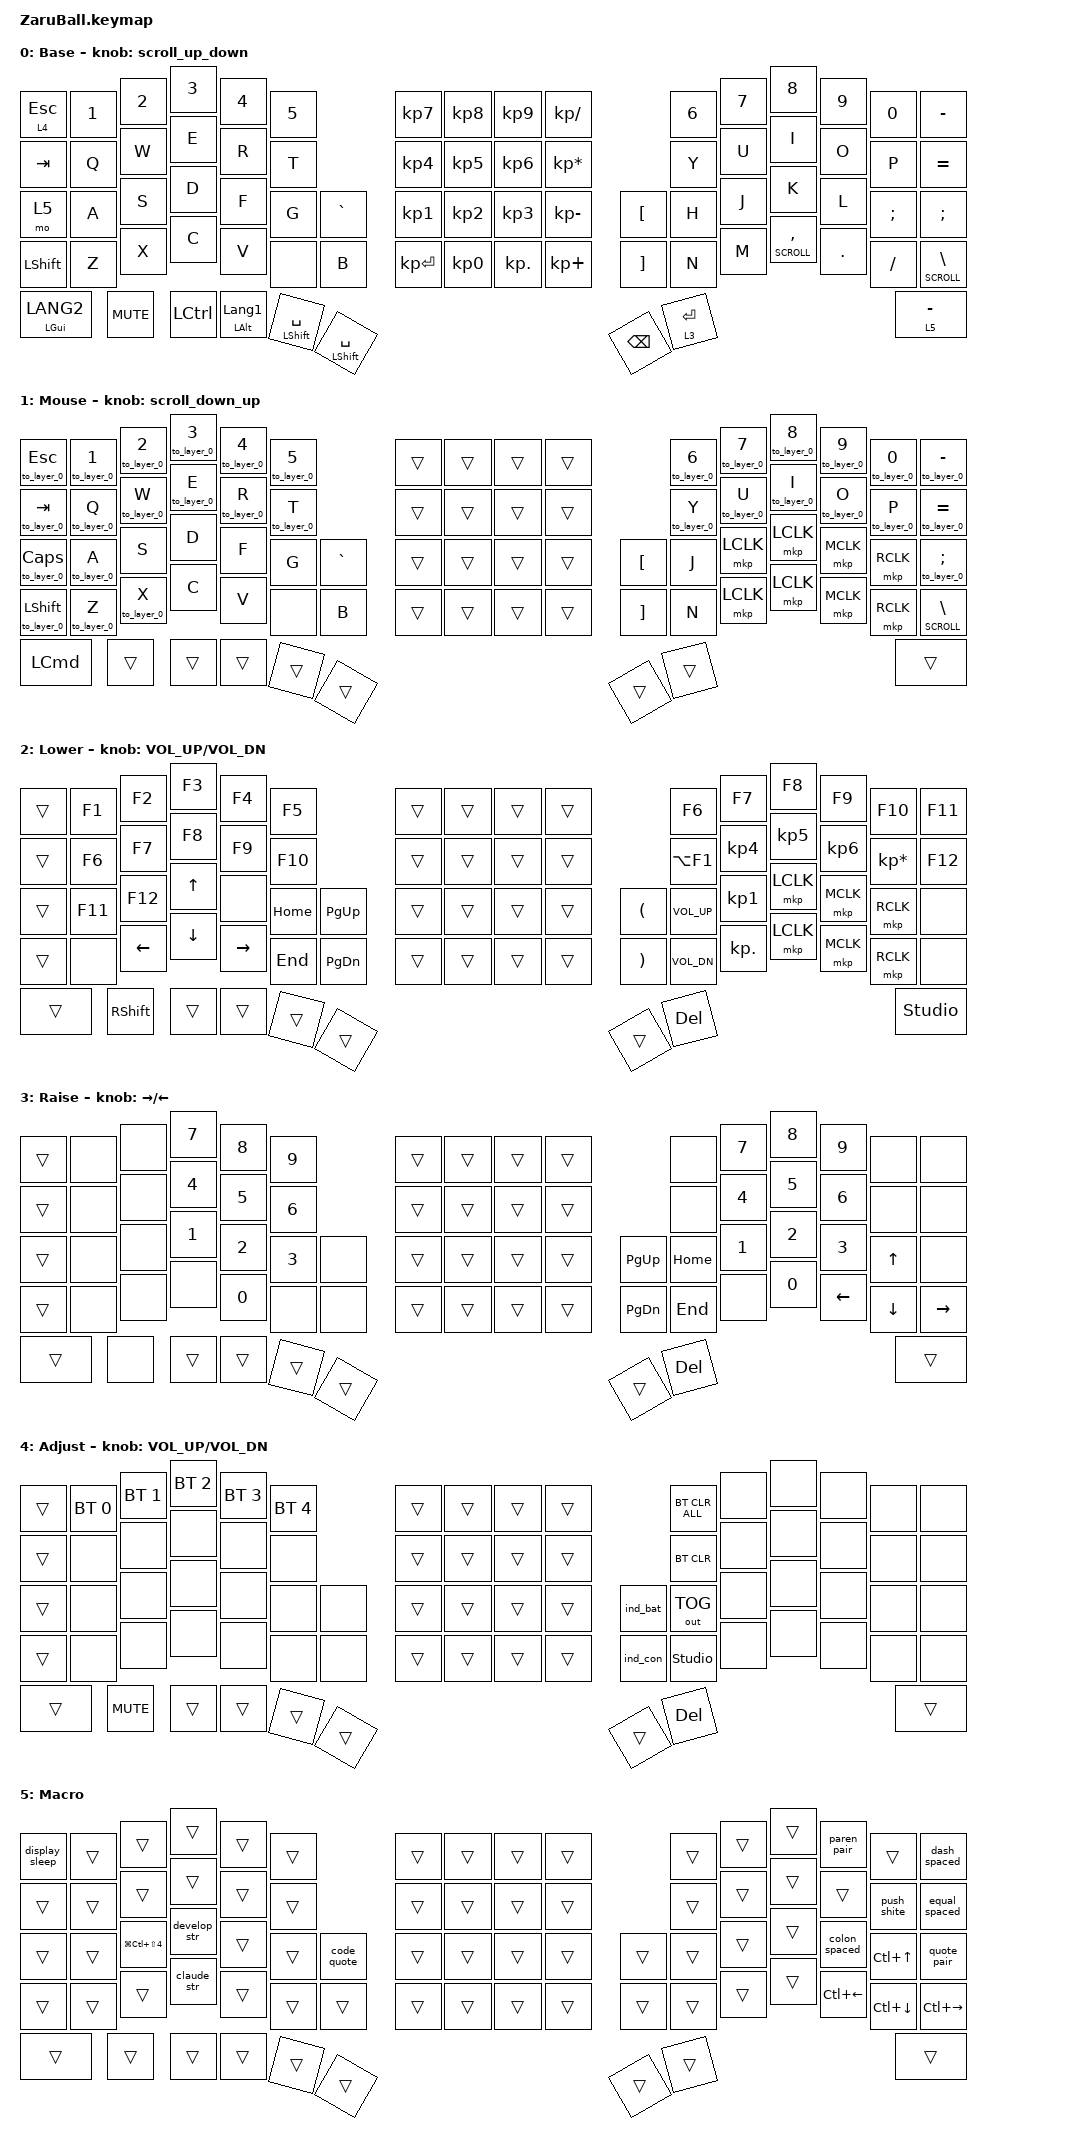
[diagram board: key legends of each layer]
//#include <dt-bindings/zmk/mouse.h>

#include <behaviors/rgbled_widget.dtsi>
#include <input/processors.dtsi>
#include <dt-bindings/zmk/input_transform.h>
#include <behaviors.dtsi>
#include <dt-bindings/zmk/bt.h>
#include <dt-bindings/zmk/keys.h>
#include <dt-bindings/zmk/outputs.h>
#include <dt-bindings/zmk/pointing.h>

#define BASE     0
#define MOUSE    1
#define LOWER    2
#define RAISE    3
#define ADJUST   4
#define SCROLL   2
#define MACRO    5

// スクロール量の設定

#define ZMK_POINTING_DEFAULT_SCRL_VAL 100

// タイピング直後の振動による誤発火を防ぐ猶予（require-prior-idle-ms）

&zip_temp_layer { require-prior-idle-ms = <100>; };

&trackball_listener {
    input-processors = <
                         &zip_xy_transform (INPUT_TRANSFORM_XY_SWAP | INPUT_TRANSFORM_Y_INVERT | INPUT_TRANSFORM_X_INVERT)
                         &zip_xy_scaler 3 2 // マウスポインタの移動量を1.5倍に
                         &zip_temp_layer MOUSE 350
    >;

    scroller {
        layers = <SCROLL>;
        input-processors = <
                            &zip_xy_transform (INPUT_TRANSFORM_XY_SWAP | INPUT_TRANSFORM_X_INVERT)
                            &zip_xy_scaler 1 80 // layer2(SCROLL)のスクロール速度をさらに半分に（除数 40→80、元の1/4）
                            &zip_xy_to_scroll_mapper
        >;
    };
};

/ {
    conditional_layers {
        compatible = "zmk,conditional-layers";

        tri_layer {
            if-layers = <2 3>;
            then-layer = <4>;
        };
    };
};

/ {
    combos {
        compatible = "zmk,combos";

        // ESC(位置0) + Enter(位置75) → 画面ロック（Ctrl+Cmd+Q）
        // layer0 のみで有効。Enter を delete と入れ替えたため位置は 75

        combo_lock_screen {
            timeout-ms = <75>;
            key-positions = <0 75>;
            bindings = <&kp LC(LG(Q))>;
            layers = <0>;
        };
    };
};

/ {
    behaviors {
        // スクロール用のbehaviorの設定

        scroll_down_up: behavior_sensor_rotate_mouse_wheel_down_up {
            compatible = "zmk,behavior-sensor-rotate";
            #sensor-binding-cells = <0>;
            bindings = <&msc SCRL_DOWN>, <&msc SCRL_UP>;

            tap-ms = <20>; // スクロールのタップ時間
        };

        // layer0 のエンコーダー用（上下を反転：CW→上, CCW→下）
        // scroll_down_up は mouse_layer でも使うため、layer0 専用に別behaviorを用意

        scroll_up_down: behavior_sensor_rotate_mouse_wheel_up_down {
            compatible = "zmk,behavior-sensor-rotate";
            #sensor-binding-cells = <0>;
            bindings = <&msc SCRL_UP>, <&msc SCRL_DOWN>;

            tap-ms = <20>; // スクロールのタップ時間
        };

        td0: tap_dance_0 {
            compatible = "zmk,behavior-tap-dance";
            #binding-cells = <0>;
            tapping-term-ms = <200>;
            bindings = <&mt LALT LANG2>, <&mo RAISE>, <&mo MOUSE>;
        };

        td1: tap_dance_1 {
            compatible = "zmk,behavior-tap-dance";
            #binding-cells = <0>;
            tapping-term-ms = <200>;
            bindings = <&mt RCTL LANG1>, <&mo RAISE>, <&mo MOUSE>;
        };

        // Customed Hold-Tap for SandS

        SandS: SandS {
            compatible = "zmk,behavior-hold-tap";
            #binding-cells = <2>;
            flavor = "tap-unless-interrupted";
            tapping-term-ms = <500>;
            quick-tap-ms = <500>;
            bindings = <&kp>, <&kp>;

            display-name = "SandS";
        };

        // 右下キー用: 単体は TAB、Cmd(GUI)押下中は LANG1(かな/日本語IME)
        // mod-morph は既定でトリガー mod(GUI) を出力から除去するため、
        // macOS には LANG1 単独が届く（Cmd+TAB のアプリ切替は無効化される）

        gui_tab_ime: gui_tab_ime {
            compatible = "zmk,behavior-mod-morph";
            #binding-cells = <0>;
            bindings = <&kp TAB>, <&kp LANG1>;

            mods = <(MOD_LGUI|MOD_RGUI)>;
        };
    };
};

&sl { release-after-ms = <250>; }; // time needed for double click (for mkp_exit_AML)
/ {
    macros {
        // When in AML, move to default layer when key (except mouse button) pressed

        to_layer_0: to_layer_0 {
            compatible = "zmk,behavior-macro-one-param";
            #binding-cells = <1>;
            bindings = <&tog MOUSE &macro_param_1to1 &kp MACRO_PLACEHOLDER>;
            label = "TO_layer_0";
        };

        // When LCLK pressed, exit AML (after 250ms cause by sticky layer

        mkp_exit_AML: mkp_exit_AML {
            compatible = "zmk,behavior-macro-one-param";
            #binding-cells = <1>;
            bindings =
                <&macro_press>,
                <&macro_param_1to1 &mkp MACRO_PLACEHOLDER>,
                <&macro_pause_for_release>,
                <&macro_release>,
                <&macro_param_1to1 &mkp MACRO_PLACEHOLDER>,
                <&macro_tap>,
                <&sl MOUSE>;

            label = "MKP_EXIT_AML";
        };

        // ` キーで「␣``␣」を入力し、カーソルを `` の中へ戻す（インラインコード補助）
        // 出力: SPACE GRAVE GRAVE SPACE → LEFT LEFT で 2 つの ` の間へ

        code_quote: code_quote {
            compatible = "zmk,behavior-macro";
            #binding-cells = <0>;
            wait-ms = <30>;
            tap-ms = <30>;
            bindings = <&kp LANG2 &kp SPACE &kp GRAVE &kp GRAVE &kp SPACE &kp LEFT &kp LEFT>;
            label = "CODE_QUOTE";
        };

        // - キーで「␣-␣」を入力（前後スペース付きハイフン）

        dash_spaced: dash_spaced {
            compatible = "zmk,behavior-macro";
            #binding-cells = <0>;
            wait-ms = <30>;
            tap-ms = <30>;
            bindings = <&kp LANG2 &kp SPACE &kp MINUS &kp SPACE>;
            label = "DASH_SPACED";
        };

        // = キーで「␣=␣」を入力（前後スペース付きイコール）

        equal_spaced: equal_spaced {
            compatible = "zmk,behavior-macro";
            #binding-cells = <0>;
            wait-ms = <30>;
            tap-ms = <30>;
            bindings = <&kp LANG2 &kp SPACE &kp EQUAL &kp SPACE>;
            label = "EQUAL_SPACED";
        };

        // : キーで「␣:␣」を入力（前後スペース付きコロン、-/= と同様）

        colon_spaced: colon_spaced {
            compatible = "zmk,behavior-macro";
            #binding-cells = <0>;
            wait-ms = <30>;
            tap-ms = <30>;
            bindings = <&kp LANG2 &kp SPACE &kp COLON &kp SPACE>;
            label = "COLON_SPACED";
        };

        // ( キーで「()」を入力し、カーソルを中へ戻す（LEFT×1）

        paren_pair: paren_pair {
            compatible = "zmk,behavior-macro";
            #binding-cells = <0>;
            wait-ms = <30>;
            tap-ms = <30>;
            bindings = <&kp LANG2 &kp LEFT_PARENTHESIS &kp RIGHT_PARENTHESIS &kp LEFT>;
            label = "PAREN_PAIR";
        };

        // " キーで「""」を入力し、カーソルを中へ戻す（LEFT×1）

        quote_pair: quote_pair {
            compatible = "zmk,behavior-macro";
            #binding-cells = <0>;
            wait-ms = <30>;
            tap-ms = <30>;
            bindings = <&kp LANG2 &kp DOUBLE_QUOTES &kp DOUBLE_QUOTES &kp LEFT>;
            label = "QUOTE_PAIR";
        };

        // p キーで「pushして」を入力（IME 自動切替）
        // LANG2(英数)→push→LANG1(かな)→shite(→して)→Enterで変換確定
        // ※IME 切替の取りこぼしが出る場合は wait-ms を増やす

        push_shite: push_shite {
            compatible = "zmk,behavior-macro";
            #binding-cells = <0>;
            wait-ms = <30>;
            tap-ms = <30>;
            bindings = <&kp LANG2 &kp P &kp U &kp S &kp H &kp LANG1 &kp S &kp H &kp I &kp T &kp E &kp RET>;
            label = "PUSH_SHITE";
        };

        // d キーで「develop」を入力
        // 先頭で LANG2(英数)に切替してから打つ（かな状態でも化けないように）

        develop_str: develop_str {
            compatible = "zmk,behavior-macro";
            #binding-cells = <0>;
            wait-ms = <30>;
            tap-ms = <30>;
            bindings = <&kp LANG2 &kp D &kp E &kp V &kp E &kp L &kp O &kp P>;
            label = "DEVELOP_STR";
        };

        // c キーで「claude」を入力
        // 先頭で LANG2(英数)に切替してから打つ（かな状態でも化けないように）

        claude_str: claude_str {
            compatible = "zmk,behavior-macro";
            #binding-cells = <0>;
            wait-ms = <30>;
            tap-ms = <30>;
            bindings = <&kp LANG2 &kp C &kp L &kp A &kp U &kp D &kp E>;
            label = "CLAUDE_STR";
        };

        // 画面スリープ: Ctrl+Shift+Power（macOS ディスプレイスリープ）
        // Eject(Consumer)は修飾と別レポートで効かなかったため、
        // K_POWER(キーボード usage)を使い Ctrl/Shift と同一レポートで送る
        // tap-ms を長めにして macOS が確実に認識できるようにする

        display_sleep: display_sleep {
            compatible = "zmk,behavior-macro";
            #binding-cells = <0>;
            tap-ms = <100>;
            bindings = <&kp LC(LS(K_POWER))>;
            label = "DISPLAY_SLEEP";
        };
    };
};

/ {
    keymap {
        compatible = "zmk,keymap";

        base_layer {
            display-name = "Base";
            sensor-bindings = <&scroll_up_down>; // layer0 のエンコーダー上下を反転
            bindings = <
&lt 4 ESCAPE    &kp N1      &kp N2  &kp N3     &kp N4                      &kp N5                                         &kp KP_N7     &kp KP_N8  &kp KP_N9   &kp KP_DIVIDE                &kp NUMBER_6  &kp N7  &kp N8            &kp N9      &kp N0         &kp MINUS
&kp TAB         &kp Q       &kp W   &kp E      &kp R                       &kp T                                          &kp KP_N4     &kp KP_N5  &kp KP_N6   &kp KP_MULTIPLY              &kp Y         &kp U   &kp I             &kp O       &kp P          &kp EQUAL
&mo 5           &kp A       &kp S   &kp D      &kp F                       &kp G               &kp GRAVE                  &kp KP_N1     &kp KP_N2  &kp KP_N3   &kp KP_MINUS       &kp LBKT  &kp H         &kp J   &kp K             &kp L       &kp SEMICOLON  &kp SEMICOLON
&kp LSHFT       &kp Z       &kp X   &kp C      &kp V                       &none               &kp B                      &kp KP_ENTER  &kp KP_N0  &kp KP_DOT  &kp KP_PLUS        &kp RBKT  &kp N         &kp M   &lt SCROLL COMMA  &kp PERIOD  &kp SLASH      &lt SCROLL BACKSLASH
&mt LGUI LANG2  &kp C_MUTE          &kp LCTRL  &SandS LEFT_ALT LANGUAGE_1  &SandS LSHFT SPACE  &SandS LEFT_SHIFT SPACE                                                            &kp BSPC  &lt 3 RET                                                          &lt 5 MINUS
            >;
        };

        mouse_layer {
            display-name = "Mouse";
            sensor-bindings = <&scroll_down_up>;
            bindings = <
&to_layer_0 ESC     &to_layer_0 N1  &to_layer_0 N2  &to_layer_0 N3  &to_layer_0 N4  &to_layer_0 N5               &trans  &trans  &trans  &trans                       &to_layer_0 N6  &to_layer_0 N7  &to_layer_0 N8  &to_layer_0 N9  &to_layer_0 N0  &to_layer_0 MINUS
&to_layer_0 TAB     &to_layer_0 Q   &to_layer_0 W   &to_layer_0 E   &to_layer_0 R   &to_layer_0 T                &trans  &trans  &trans  &trans                       &to_layer_0 Y   &to_layer_0 U   &to_layer_0 I   &to_layer_0 O   &to_layer_0 P   &to_layer_0 EQUAL
&to_layer_0 CAPS    &to_layer_0 A   &kp S           &kp D           &kp F           &kp G           &kp GRAVE    &trans  &trans  &trans  &trans    &kp LEFT_BRACKET   &kp J           &mkp LCLK       &mkp LCLK       &mkp MCLK       &mkp RCLK       &to_layer_0 SEMICOLON
&to_layer_0 LSHIFT  &to_layer_0 Z   &to_layer_0 X   &kp C           &kp V           &none           &kp B        &trans  &trans  &trans  &trans    &kp RIGHT_BRACKET  &kp N           &mkp LCLK       &mkp LCLK       &mkp MCLK       &mkp RCLK       &lt SCROLL BACKSLASH
&kp LCMD            &trans                          &trans          &trans          &trans          &trans                                         &trans             &trans                                                                          &trans
            >;
        };

        lower_layer {
            display-name = "Lower";
            sensor-bindings = <&inc_dec_kp C_VOL_UP C_VOL_DN>;
            bindings = <
&trans  &kp F1     &kp F2    &kp F3    &kp F4     &kp F5                 &trans  &trans  &trans  &trans              &kp F6        &kp F7      &kp F8     &kp F9     &kp F10          &kp F11
&trans  &kp F6     &kp F7    &kp F8    &kp F9     &kp F10                &trans  &trans  &trans  &trans              &kp LA(F1)    &kp KP_N4   &kp KP_N5  &kp KP_N6  &kp KP_MULTIPLY  &kp F12
&trans  &kp F11    &kp F12   &kp UP    &none      &kp HOME  &kp PG_UP    &trans  &trans  &trans  &trans    &kp LPAR  &kp C_VOL_UP  &kp KP_N1   &mkp LCLK  &mkp MCLK  &mkp RCLK        &none
&trans  &none      &kp LEFT  &kp DOWN  &kp RIGHT  &kp END   &kp PG_DN    &trans  &trans  &trans  &trans    &kp RPAR  &kp C_VOL_DN  &kp KP_DOT  &mkp LCLK  &mkp MCLK  &mkp RCLK        &none
&trans  &kp RSHFT            &trans    &trans     &trans    &trans                                         &trans    &kp DEL                                                          &studio_unlock
            >;
        };

        raise_layer {
            display-name = "Raise";
            sensor-bindings = <&inc_dec_kp RIGHT LEFT>;
            bindings = <
&trans  &none  &none  &kp N7  &kp N8  &kp N9            &trans  &trans  &trans  &trans               &none     &kp N7  &kp N8  &kp N9    &none     &none
&trans  &none  &none  &kp N4  &kp N5  &kp N6            &trans  &trans  &trans  &trans               &none     &kp N4  &kp N5  &kp N6    &none     &none
&trans  &none  &none  &kp N1  &kp N2  &kp N3  &none     &trans  &trans  &trans  &trans    &kp PG_UP  &kp HOME  &kp N1  &kp N2  &kp N3    &kp UP    &none
&trans  &none  &none  &none   &kp N0  &none   &none     &trans  &trans  &trans  &trans    &kp PG_DN  &kp END   &none   &kp N0  &kp LEFT  &kp DOWN  &kp RIGHT
&trans  &none         &trans  &trans  &trans  &trans                                      &trans     &kp DEL                                       &trans
            >;
        };

        adjust_layer {
            display-name = "Adjust";
            sensor-bindings = <&inc_dec_kp C_VOL_UP C_VOL_DN>;
            bindings = <
&trans  &bt BT_SEL 0  &bt BT_SEL 1  &bt BT_SEL 2  &bt BT_SEL 3  &bt BT_SEL 4            &trans  &trans  &trans  &trans              &bt BT_CLR_ALL  &none  &none  &none  &none  &none
&trans  &none         &none         &none         &none         &none                   &trans  &trans  &trans  &trans              &bt BT_CLR      &none  &none  &none  &none  &none
&trans  &none         &none         &none         &none         &none         &none     &trans  &trans  &trans  &trans    &ind_bat  &out OUT_TOG    &none  &none  &none  &none  &none
&trans  &none         &none         &none         &none         &none         &none     &trans  &trans  &trans  &trans    &ind_con  &studio_unlock  &none  &none  &none  &none  &none
&trans  &kp C_MUTE                  &trans        &trans        &trans        &trans                                      &trans    &kp DEL                                     &trans
            >;
        };

        // マクロ用レイヤー（layer5）。base の &mo MACRO で保持中のみ有効。
        // 中身は空（全 &trans）。keymap editor で各キーにマクロを割り当てて使う。

        macro_layer {
            display-name = "Macro";
            bindings = <
&display_sleep  &trans  &trans              &trans        &trans  &trans                 &trans  &trans  &trans  &trans            &trans  &trans  &trans  &paren_pair    &trans        &dash_spaced
&trans          &trans  &trans              &trans        &trans  &trans                 &trans  &trans  &trans  &trans            &trans  &trans  &trans  &trans         &push_shite   &equal_spaced
&trans          &trans  &kp LG(LC(LS(N4)))  &develop_str  &trans  &trans  &code_quote    &trans  &trans  &trans  &trans    &trans  &trans  &trans  &trans  &colon_spaced  &kp LC(UP)    &quote_pair
&trans          &trans  &trans              &claude_str   &trans  &trans  &trans         &trans  &trans  &trans  &trans    &trans  &trans  &trans  &trans  &kp LC(LEFT)   &kp LC(DOWN)  &kp LC(RIGHT)
&trans          &trans                      &trans        &trans  &trans  &trans                                           &trans  &trans                                               &trans
            >;
        };

        // Extra layer can be added in ZMK STUDIO

        extra2 { status = "reserved"; };
    };
};
